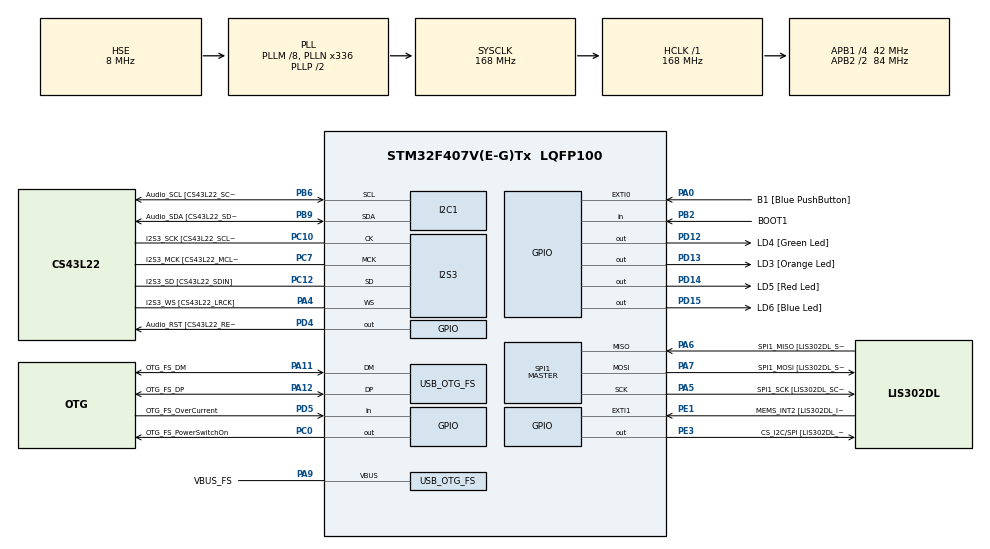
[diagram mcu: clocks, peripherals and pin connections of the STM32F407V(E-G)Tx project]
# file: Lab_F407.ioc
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I2S3.AudioFreq-Half_Duplex_Master=I2S_AUDIOFREQ_96K
I2S3.ErrorAudioFreq=-2.34 %
I2S3.ErrorAudioFreq-Half_Duplex_Master=0.8 %
I2S3.FullDuplexMode=I2S_FULLDUPLEXMODE_DISABLE
I2S3.Instance=SPI$Index
I2S3.RealAudioFreq=93.75 KHz
I2S3.RealAudioFreq-Half_Duplex_Master=96.774 KHz
I2S3.VirtualMode=I2S_MODE_MASTER
Mcu.Family=STM32F4
Mcu.Name=STM32F407V(E-G)Tx
Mcu.Package=LQFP100
NVIC.EXTI0_IRQn=true\:0\:0\:false\:false\:true\:true\:true\:true
NVIC.OTG_FS_IRQn=true\:0\:0\:false\:false\:true\:true\:true\:true
NVIC.PriorityGroup=NVIC_PRIORITYGROUP_0
NVIC.TIM3_IRQn=true\:0\:0\:false\:false\:true\:true\:true\:true
NVIC.TIM4_IRQn=true\:0\:0\:false\:false\:true\:true\:true\:true
NVIC.TIM5_IRQn=true\:0\:0\:false\:false\:true\:true\:true\:true
PA0-WKUP.GPIO_Label=B1 [Blue PushButton]
PA0-WKUP.GPIO_ModeDefaultEXTI=GPIO_MODE_IT_RISING_FALLING
PA0-WKUP.GPIO_PuPd=GPIO_NOPULL
PA0-WKUP.Signal=GPXTI0
PA10.GPIO_Label=OTG_FS_ID
PA10.GPIO_Mode=GPIO_MODE_AF_PP
PA10.GPIO_PuPd=GPIO_NOPULL
PA10.GPIO_Speed=GPIO_SPEED_FREQ_LOW
PA10.Signal=USB_OTG_FS_ID
PA11.GPIO_Label=OTG_FS_DM
PA11.GPIO_Mode=GPIO_MODE_AF_PP
PA11.GPIO_PuPd=GPIO_NOPULL
PA11.GPIO_Speed=GPIO_SPEED_FREQ_LOW
PA11.Mode=Host_Only
PA11.Signal=USB_OTG_FS_DM
PA12.GPIO_Label=OTG_FS_DP
PA12.GPIO_Mode=GPIO_MODE_AF_PP
PA12.GPIO_PuPd=GPIO_NOPULL
PA12.GPIO_Speed=GPIO_SPEED_FREQ_LOW
PA12.Mode=Host_Only
PA12.Signal=USB_OTG_FS_DP
PA13.GPIO_Label=SWDIO
PA13.Mode=Serial_Wire
PA13.Signal=SYS_JTMS-SWDIO
PA14.GPIO_Label=SWCLK
PA14.Mode=Serial_Wire
PA14.Signal=SYS_JTCK-SWCLK
PA4.GPIO_Label=I2S3_WS [CS43L22_LRCK]
PA4.GPIO_Mode=GPIO_MODE_AF_PP
PA4.GPIO_PuPd=GPIO_NOPULL
PA4.GPIO_Speed=GPIO_SPEED_FREQ_LOW
PA4.Mode=Half_Duplex_Master
PA4.Signal=I2S3_WS
PA5.GPIO_Label=SPI1_SCK [LIS302DL_SCL/SPC]
PA5.GPIO_Mode=GPIO_MODE_AF_PP
PA5.GPIO_PuPd=GPIO_NOPULL
PA5.GPIO_Speed=GPIO_SPEED_FREQ_LOW
PA5.Mode=Full_Duplex_Master
PA5.Signal=SPI1_SCK
PA6.GPIO_Label=SPI1_MISO [LIS302DL_SDO]
PA6.GPIO_Mode=GPIO_MODE_AF_PP
PA6.GPIO_PuPd=GPIO_NOPULL
PA6.GPIO_Speed=GPIO_SPEED_FREQ_LOW
PA6.Mode=Full_Duplex_Master
PA6.Signal=SPI1_MISO
PA7.GPIO_Label=SPI1_MOSI [LIS302DL_SDA/SDI/SDO]
PA7.GPIO_Mode=GPIO_MODE_AF_PP
PA7.GPIO_PuPd=GPIO_NOPULL
PA7.GPIO_Speed=GPIO_SPEED_FREQ_LOW
PA7.Mode=Full_Duplex_Master
PA7.Signal=SPI1_MOSI
PA9.GPIO_Label=VBUS_FS
PA9.GPIO_Mode=GPIO_MODE_INPUT
PA9.GPIO_PuPd=GPIO_NOPULL
PA9.Mode=Activate_VBUS
PA9.Signal=USB_OTG_FS_VBUS
PB10.GPIO_Label=CLK_IN [MP45DT02_CLK]
PB10.GPIO_Mode=GPIO_MODE_AF_PP
PB10.GPIO_PuPd=GPIO_NOPULL
PB10.GPIO_Speed=GPIO_SPEED_FREQ_LOW
PB10.Signal=I2S2_CK
PB2.GPIO_Label=BOOT1
PB2.GPIO_Mode=GPIO_MODE_INPUT
PB2.GPIO_PuPd=GPIO_NOPULL
PB2.Signal=GPIO_Input
PB3.GPIO_Label=SWO
PB3.Signal=SYS_JTDO-SWO
PB6.GPIO_Label=Audio_SCL [CS43L22_SCL]
PB6.GPIO_Mode=GPIO_MODE_AF_OD
PB6.GPIO_Pu=GPIO_PULLUP
PB6.GPIO_PuPd=GPIO_NOPULL
PB6.GPIO_Speed=GPIO_SPEED_FREQ_LOW
PB6.Mode=I2C
PB6.Signal=I2C1_SCL
PB9.GPIO_Label=Audio_SDA [CS43L22_SDA]
PB9.GPIO_Mode=GPIO_MODE_AF_OD
PB9.GPIO_Pu=GPIO_PULLUP
PB9.GPIO_PuPd=GPIO_NOPULL
PB9.GPIO_Speed=GPIO_SPEED_FREQ_LOW
PB9.Mode=I2C
PB9.Signal=I2C1_SDA
PC0.GPIO_Label=OTG_FS_PowerSwitchOn
PC0.GPIO_PuPd=GPIO_NOPULL
PC0.GPIO_Speed=GPIO_SPEED_FREQ_LOW
PC0.PinState=GPIO_PIN_SET
PC0.Signal=GPIO_Output
PC10.GPIO_Label=I2S3_SCK [CS43L22_SCLK]
PC10.GPIO_Mode=GPIO_MODE_AF_PP
PC10.GPIO_PuPd=GPIO_NOPULL
PC10.GPIO_Speed=GPIO_SPEED_FREQ_LOW
PC10.Mode=Half_Duplex_Master
PC10.Signal=I2S3_CK
PC12.GPIO_Label=I2S3_SD [CS43L22_SDIN]
PC12.GPIO_Mode=GPIO_MODE_AF_PP
PC12.GPIO_PuPd=GPIO_NOPULL
PC12.GPIO_Speed=GPIO_SPEED_FREQ_LOW
PC12.Mode=Half_Duplex_Master
PC12.Signal=I2S3_SD
PC14-OSC32_IN.GPIO_Label=PC14-OSC32_IN
PC14-OSC32_IN.Mode=LSE-External-Oscillator
PC14-OSC32_IN.Signal=RCC_OSC32_IN
PC15-OSC32_OUT.GPIO_Label=PC15-OSC32_OUT
PC15-OSC32_OUT.Mode=LSE-External-Oscillator
PC15-OSC32_OUT.Signal=RCC_OSC32_OUT
PC3.GPIO_Label=PDM_OUT [MP45DT02_DOUT]
PC3.GPIO_Mode=GPIO_MODE_AF_PP
PC3.GPIO_PuPd=GPIO_NOPULL
PC3.GPIO_Speed=GPIO_SPEED_FREQ_LOW
PC3.Signal=I2S2_SD
PC7.GPIO_Label=I2S3_MCK [CS43L22_MCLK]
PC7.GPIO_Mode=GPIO_MODE_AF_PP
PC7.GPIO_PuPd=GPIO_NOPULL
PC7.GPIO_Speed=GPIO_SPEED_FREQ_LOW
PC7.Mode=Master_Clock_Activated
PC7.Signal=I2S3_MCK
PD12.GPIO_Label=LD4 [Green Led]
PD12.GPIO_PuPd=GPIO_NOPULL
PD12.GPIO_Speed=GPIO_SPEED_FREQ_LOW
PD12.Signal=GPIO_Output
PD13.GPIO_Label=LD3 [Orange Led]
PD13.GPIO_PuPd=GPIO_NOPULL
PD13.GPIO_Speed=GPIO_SPEED_FREQ_LOW
PD13.Signal=GPIO_Output
PD14.GPIO_Label=LD5 [Red Led]
PD14.GPIO_PuPd=GPIO_NOPULL
PD14.GPIO_Speed=GPIO_SPEED_FREQ_LOW
PD14.Signal=GPIO_Output
PD15.GPIO_Label=LD6 [Blue Led]
PD15.GPIO_PuPd=GPIO_NOPULL
PD15.GPIO_Speed=GPIO_SPEED_FREQ_LOW
PD15.Signal=GPIO_Output
PD4.GPIO_Label=Audio_RST [CS43L22_RESET]
PD4.GPIO_PuPd=GPIO_NOPULL
PD4.GPIO_Speed=GPIO_SPEED_FREQ_LOW
PD4.Signal=GPIO_Output
PD5.GPIO_Label=OTG_FS_OverCurrent
PD5.GPIO_Mode=GPIO_MODE_INPUT
PD5.GPIO_PuPd=GPIO_NOPULL
PD5.Signal=GPIO_Input
PE1.GPIO_Label=MEMS_INT2 [LIS302DL_INT2]
PE1.GPIO_ModeDefaultEXTI=GPIO_MODE_EVT_RISING
PE1.GPIO_PuPd=GPIO_NOPULL
PE1.Signal=GPXTI1
PE3.GPIO_Label=CS_I2C/SPI [LIS302DL_CS_I2C/SPI]
PE3.GPIO_PuPd=GPIO_NOPULL
PE3.GPIO_Speed=GPIO_SPEED_FREQ_LOW
PE3.Signal=GPIO_Output
PH0-OSC_IN.GPIO_Label=PH0-OSC_IN
PH0-OSC_IN.Mode=HSE-External-Oscillator
PH0-OSC_IN.Signal=RCC_OSC_IN
PH1-OSC_OUT.GPIO_Label=PH1-OSC_OUT
PH1-OSC_OUT.Mode=HSE-External-Oscillator
PH1-OSC_OUT.Signal=RCC_OSC_OUT
ProjectManager.HeapSize=0x200
ProjectManager.StackSize=0x400
ProjectManager.TargetToolchain=STM32CubeIDE
RCC.48MHZClocksFreq_Value=48000000
RCC.AHBFreq_Value=168000000
RCC.APB1CLKDivider=RCC_HCLK_DIV4
RCC.APB1Freq_Value=42000000
RCC.APB1TimFreq_Value=84000000
RCC.APB2CLKDivider=RCC_HCLK_DIV2
RCC.APB2Freq_Value=84000000
RCC.APB2TimFreq_Value=168000000
RCC.CortexFreq_Value=168000000
RCC.HCLKFreq_Value=168000000
RCC.HSE_VALUE=8000000
RCC.HSI_VALUE=16000000
RCC.PLLM=8
RCC.PLLN=336
RCC.PLLQ=7
RCC.SYSCLKFreq_VALUE=168000000
RCC.SYSCLKSource=RCC_SYSCLKSOURCE_PLLCLK
RCC.VCOOutputFreq_Value=336000000
SPI1.BaudRatePrescaler-Full_Duplex_Master=SPI_BAUDRATEPRESCALER_2
SPI1.CalculateBaudRate-Full_Duplex_Master=42.0 MBits/s
SPI1.Direction=SPI_DIRECTION_2LINES
SPI1.Mode=SPI_MODE_MASTER
SPI1.Mode-Full_Duplex_Master=SPI_MODE_MASTER
SPI1.VirtualType=VM_MASTER
TIM3.Period=999
TIM3.Prescaler=8399
TIM4.Period=999
TIM4.Prescaler=8399
TIM5.Period=999
TIM5.Prescaler=8399
USB_HOST.BSP.number=1
USB_HOST.USBH_HandleTypeDef-CDC_FS=hUsbHostFS
USB_HOST.VirtualModeFS=Cdc
USB_HOST0.BSP.STBoard=false
USB_HOST0.BSP.api=Unknown
USB_HOST0.BSP.instance=PC0
USB_HOST0.BSP.ip=GPIO
USB_HOST0.BSP.mode=Output
USB_HOST0.BSP.name=Drive_VBUS_FS
USB_HOST0.BSP.solution=PC0
USB_OTG_FS.VirtualMode=Host_Only
USB_OTG_FS.phy_itface=HCD_PHY_EMBEDDED
VP_TIM3_VS_ClockSourceINT.Mode=Internal
VP_TIM4_VS_ClockSourceINT.Mode=Internal
VP_TIM5_VS_ClockSourceINT.Mode=Internal
VP_USB_HOST_VS_USB_HOST_CDC_FS.Mode=CDC_FS
board=STM32F407G-DISC1

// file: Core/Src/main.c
/* USER CODE BEGIN Header */
/**
 ******************************************************************************
 * @file           : main.c
 * @brief          : Main program body
 ******************************************************************************
 * @attention
 *
 * Copyright (c) 2023 STMicroelectronics.
 * All rights reserved.
 *
 * This software is licensed under terms that can be found in the LICENSE file
 * in the root directory of this software component.
 * If no LICENSE file comes with this software, it is provided AS-IS.
 *
 ******************************************************************************
 */
/* USER CODE END Header */
#include "main.h"
#include "usb_host.h"

/* USER CODE BEGIN Includes */
#include "Button_Handle.h"
/* USER CODE END Includes */

I2C_HandleTypeDef hi2c1;

I2S_HandleTypeDef hi2s3;

SPI_HandleTypeDef hspi1;

TIM_HandleTypeDef htim3;
TIM_HandleTypeDef htim4;
TIM_HandleTypeDef htim5;

/* USER CODE BEGIN PV */
Button_Handle_t btn;
/* USER CODE END PV */

void SystemClock_Config(void);
static void MX_GPIO_Init(void);
static void MX_I2C1_Init(void);
static void MX_I2S3_Init(void);
static void MX_SPI1_Init(void);
static void MX_TIM3_Init(void);
static void MX_TIM4_Init(void);
static void MX_TIM5_Init(void);
void MX_USB_HOST_Process(void);

int main(void)
{

  /* MCU Configuration--------------------------------------------------------*/

  /* Reset of all peripherals, Initializes the Flash interface and the Systick. */
  HAL_Init();

  /* Configure the system clock */
  SystemClock_Config();

  /* Initialize all configured peripherals */
  MX_GPIO_Init();
  MX_I2C1_Init();
  MX_I2S3_Init();
  MX_SPI1_Init();
  MX_USB_HOST_Init();
  MX_TIM3_Init();
  MX_TIM4_Init();
  MX_TIM5_Init();
  /* USER CODE BEGIN 2 */
	Button_Init(&btn, B1_Pin, &htim4);
	uint8_t state = HAL_GPIO_ReadPin(B1_GPIO_Port, B1_Pin);
  /* USER CODE END 2 */

  /* Infinite loop */
	while (1) {
    MX_USB_HOST_Process();

	}
}

void SystemClock_Config(void)
{
  RCC_OscInitTypeDef RCC_OscInitStruct = {0};
  RCC_ClkInitTypeDef RCC_ClkInitStruct = {0};

  /** Configure the main internal regulator output voltage
  */
  __HAL_RCC_PWR_CLK_ENABLE();
  __HAL_PWR_VOLTAGESCALING_CONFIG(PWR_REGULATOR_VOLTAGE_SCALE1);

  /** Initializes the RCC Oscillators according to the specified parameters
  * in the RCC_OscInitTypeDef structure.
  */
  RCC_OscInitStruct.OscillatorType = RCC_OSCILLATORTYPE_HSE;
  RCC_OscInitStruct.HSEState = RCC_HSE_ON;
  RCC_OscInitStruct.PLL.PLLState = RCC_PLL_ON;
  RCC_OscInitStruct.PLL.PLLSource = RCC_PLLSOURCE_HSE;
  RCC_OscInitStruct.PLL.PLLM = 8;
  RCC_OscInitStruct.PLL.PLLN = 336;
  RCC_OscInitStruct.PLL.PLLP = RCC_PLLP_DIV2;
  RCC_OscInitStruct.PLL.PLLQ = 7;
  if (HAL_RCC_OscConfig(&RCC_OscInitStruct) != HAL_OK)
  {
    Error_Handler();
  }

  /** Initializes the CPU, AHB and APB buses clocks
  */
  RCC_ClkInitStruct.ClockType = RCC_CLOCKTYPE_HCLK|RCC_CLOCKTYPE_SYSCLK
                              |RCC_CLOCKTYPE_PCLK1|RCC_CLOCKTYPE_PCLK2;
  RCC_ClkInitStruct.SYSCLKSource = RCC_SYSCLKSOURCE_PLLCLK;
  RCC_ClkInitStruct.AHBCLKDivider = RCC_SYSCLK_DIV1;
  RCC_ClkInitStruct.APB1CLKDivider = RCC_HCLK_DIV4;
  RCC_ClkInitStruct.APB2CLKDivider = RCC_HCLK_DIV2;

  if (HAL_RCC_ClockConfig(&RCC_ClkInitStruct, FLASH_LATENCY_5) != HAL_OK)
  {
    Error_Handler();
  }
}

static void MX_I2C1_Init(void)
{

  hi2c1.Instance = I2C1;
  hi2c1.Init.ClockSpeed = 100000;
  hi2c1.Init.DutyCycle = I2C_DUTYCYCLE_2;
  hi2c1.Init.OwnAddress1 = 0;
  hi2c1.Init.AddressingMode = I2C_ADDRESSINGMODE_7BIT;
  hi2c1.Init.DualAddressMode = I2C_DUALADDRESS_DISABLE;
  hi2c1.Init.OwnAddress2 = 0;
  hi2c1.Init.GeneralCallMode = I2C_GENERALCALL_DISABLE;
  hi2c1.Init.NoStretchMode = I2C_NOSTRETCH_DISABLE;
  if (HAL_I2C_Init(&hi2c1) != HAL_OK)
  {
    Error_Handler();
  }

}

static void MX_I2S3_Init(void)
{

  hi2s3.Instance = SPI3;
  hi2s3.Init.Mode = I2S_MODE_MASTER_TX;
  hi2s3.Init.Standard = I2S_STANDARD_PHILIPS;
  hi2s3.Init.DataFormat = I2S_DATAFORMAT_16B;
  hi2s3.Init.MCLKOutput = I2S_MCLKOUTPUT_ENABLE;
  hi2s3.Init.AudioFreq = I2S_AUDIOFREQ_96K;
  hi2s3.Init.CPOL = I2S_CPOL_LOW;
  hi2s3.Init.ClockSource = I2S_CLOCK_PLL;
  hi2s3.Init.FullDuplexMode = I2S_FULLDUPLEXMODE_DISABLE;
  if (HAL_I2S_Init(&hi2s3) != HAL_OK)
  {
    Error_Handler();
  }

}

static void MX_SPI1_Init(void)
{

  /* SPI1 parameter configuration*/
  hspi1.Instance = SPI1;
  hspi1.Init.Mode = SPI_MODE_MASTER;
  hspi1.Init.Direction = SPI_DIRECTION_2LINES;
  hspi1.Init.DataSize = SPI_DATASIZE_8BIT;
  hspi1.Init.CLKPolarity = SPI_POLARITY_LOW;
  hspi1.Init.CLKPhase = SPI_PHASE_1EDGE;
  hspi1.Init.NSS = SPI_NSS_SOFT;
  hspi1.Init.BaudRatePrescaler = SPI_BAUDRATEPRESCALER_2;
  hspi1.Init.FirstBit = SPI_FIRSTBIT_MSB;
  hspi1.Init.TIMode = SPI_TIMODE_DISABLE;
  hspi1.Init.CRCCalculation = SPI_CRCCALCULATION_DISABLE;
  hspi1.Init.CRCPolynomial = 10;
  if (HAL_SPI_Init(&hspi1) != HAL_OK)
  {
    Error_Handler();
  }

}

static void MX_TIM3_Init(void)
{

  TIM_ClockConfigTypeDef sClockSourceConfig = {0};
  TIM_MasterConfigTypeDef sMasterConfig = {0};

  htim3.Instance = TIM3;
  htim3.Init.Prescaler = 8399;
  htim3.Init.CounterMode = TIM_COUNTERMODE_UP;
  htim3.Init.Period = 999;
  htim3.Init.ClockDivision = TIM_CLOCKDIVISION_DIV1;
  htim3.Init.AutoReloadPreload = TIM_AUTORELOAD_PRELOAD_DISABLE;
  if (HAL_TIM_Base_Init(&htim3) != HAL_OK)
  {
    Error_Handler();
  }
  sClockSourceConfig.ClockSource = TIM_CLOCKSOURCE_INTERNAL;
  if (HAL_TIM_ConfigClockSource(&htim3, &sClockSourceConfig) != HAL_OK)
  {
    Error_Handler();
  }
  sMasterConfig.MasterOutputTrigger = TIM_TRGO_RESET;
  sMasterConfig.MasterSlaveMode = TIM_MASTERSLAVEMODE_DISABLE;
  if (HAL_TIMEx_MasterConfigSynchronization(&htim3, &sMasterConfig) != HAL_OK)
  {
    Error_Handler();
  }

}

static void MX_TIM4_Init(void)
{

  TIM_ClockConfigTypeDef sClockSourceConfig = {0};
  TIM_MasterConfigTypeDef sMasterConfig = {0};

  htim4.Instance = TIM4;
  htim4.Init.Prescaler = 8399;
  htim4.Init.CounterMode = TIM_COUNTERMODE_UP;
  htim4.Init.Period = 999;
  htim4.Init.ClockDivision = TIM_CLOCKDIVISION_DIV1;
  htim4.Init.AutoReloadPreload = TIM_AUTORELOAD_PRELOAD_DISABLE;
  if (HAL_TIM_Base_Init(&htim4) != HAL_OK)
  {
    Error_Handler();
  }
  sClockSourceConfig.ClockSource = TIM_CLOCKSOURCE_INTERNAL;
  if (HAL_TIM_ConfigClockSource(&htim4, &sClockSourceConfig) != HAL_OK)
  {
    Error_Handler();
  }
  sMasterConfig.MasterOutputTrigger = TIM_TRGO_RESET;
  sMasterConfig.MasterSlaveMode = TIM_MASTERSLAVEMODE_DISABLE;
  if (HAL_TIMEx_MasterConfigSynchronization(&htim4, &sMasterConfig) != HAL_OK)
  {
    Error_Handler();
  }

}

static void MX_TIM5_Init(void)
{

  TIM_ClockConfigTypeDef sClockSourceConfig = {0};
  TIM_MasterConfigTypeDef sMasterConfig = {0};

  htim5.Instance = TIM5;
  htim5.Init.Prescaler = 8399;
  htim5.Init.CounterMode = TIM_COUNTERMODE_UP;
  htim5.Init.Period = 999;
  htim5.Init.ClockDivision = TIM_CLOCKDIVISION_DIV1;
  htim5.Init.AutoReloadPreload = TIM_AUTORELOAD_PRELOAD_DISABLE;
  if (HAL_TIM_Base_Init(&htim5) != HAL_OK)
  {
    Error_Handler();
  }
  sClockSourceConfig.ClockSource = TIM_CLOCKSOURCE_INTERNAL;
  if (HAL_TIM_ConfigClockSource(&htim5, &sClockSourceConfig) != HAL_OK)
  {
    Error_Handler();
  }
  sMasterConfig.MasterOutputTrigger = TIM_TRGO_RESET;
  sMasterConfig.MasterSlaveMode = TIM_MASTERSLAVEMODE_DISABLE;
  if (HAL_TIMEx_MasterConfigSynchronization(&htim5, &sMasterConfig) != HAL_OK)
  {
    Error_Handler();
  }

}

static void MX_GPIO_Init(void)
{
  GPIO_InitTypeDef GPIO_InitStruct = {0};

  /* GPIO Ports Clock Enable */
  __HAL_RCC_GPIOE_CLK_ENABLE();
  __HAL_RCC_GPIOC_CLK_ENABLE();
  __HAL_RCC_GPIOH_CLK_ENABLE();
  __HAL_RCC_GPIOA_CLK_ENABLE();
  __HAL_RCC_GPIOB_CLK_ENABLE();
  __HAL_RCC_GPIOD_CLK_ENABLE();

  /*Configure GPIO pin Output Level */
  HAL_GPIO_WritePin(CS_I2C_SPI_GPIO_Port, CS_I2C_SPI_Pin, GPIO_PIN_RESET);

  /*Configure GPIO pin Output Level */
  HAL_GPIO_WritePin(OTG_FS_PowerSwitchOn_GPIO_Port, OTG_FS_PowerSwitchOn_Pin, GPIO_PIN_SET);

  /*Configure GPIO pin Output Level */
  HAL_GPIO_WritePin(GPIOD, LD4_Pin|LD3_Pin|LD5_Pin|LD6_Pin
                          |Audio_RST_Pin, GPIO_PIN_RESET);

  /*Configure GPIO pin : CS_I2C_SPI_Pin */
  GPIO_InitStruct.Pin = CS_I2C_SPI_Pin;
  GPIO_InitStruct.Mode = GPIO_MODE_OUTPUT_PP;
  GPIO_InitStruct.Pull = GPIO_NOPULL;
  GPIO_InitStruct.Speed = GPIO_SPEED_FREQ_LOW;
  HAL_GPIO_Init(CS_I2C_SPI_GPIO_Port, &GPIO_InitStruct);

  /*Configure GPIO pin : OTG_FS_PowerSwitchOn_Pin */
  GPIO_InitStruct.Pin = OTG_FS_PowerSwitchOn_Pin;
  GPIO_InitStruct.Mode = GPIO_MODE_OUTPUT_PP;
  GPIO_InitStruct.Pull = GPIO_NOPULL;
  GPIO_InitStruct.Speed = GPIO_SPEED_FREQ_LOW;
  HAL_GPIO_Init(OTG_FS_PowerSwitchOn_GPIO_Port, &GPIO_InitStruct);

  /*Configure GPIO pin : PDM_OUT_Pin */
  GPIO_InitStruct.Pin = PDM_OUT_Pin;
  GPIO_InitStruct.Mode = GPIO_MODE_AF_PP;
  GPIO_InitStruct.Pull = GPIO_NOPULL;
  GPIO_InitStruct.Speed = GPIO_SPEED_FREQ_LOW;
  GPIO_InitStruct.Alternate = GPIO_AF5_SPI2;
  HAL_GPIO_Init(PDM_OUT_GPIO_Port, &GPIO_InitStruct);

  /*Configure GPIO pin : B1_Pin */
  GPIO_InitStruct.Pin = B1_Pin;
  GPIO_InitStruct.Mode = GPIO_MODE_IT_RISING_FALLING;
  GPIO_InitStruct.Pull = GPIO_NOPULL;
  HAL_GPIO_Init(B1_GPIO_Port, &GPIO_InitStruct);

  /*Configure GPIO pin : BOOT1_Pin */
  GPIO_InitStruct.Pin = BOOT1_Pin;
  GPIO_InitStruct.Mode = GPIO_MODE_INPUT;
  GPIO_InitStruct.Pull = GPIO_NOPULL;
  HAL_GPIO_Init(BOOT1_GPIO_Port, &GPIO_InitStruct);

  /*Configure GPIO pin : CLK_IN_Pin */
  GPIO_InitStruct.Pin = CLK_IN_Pin;
  GPIO_InitStruct.Mode = GPIO_MODE_AF_PP;
  GPIO_InitStruct.Pull = GPIO_NOPULL;
  GPIO_InitStruct.Speed = GPIO_SPEED_FREQ_LOW;
  GPIO_InitStruct.Alternate = GPIO_AF5_SPI2;
  HAL_GPIO_Init(CLK_IN_GPIO_Port, &GPIO_InitStruct);

  /*Configure GPIO pins : LD4_Pin LD3_Pin LD5_Pin LD6_Pin
                           Audio_RST_Pin */
  GPIO_InitStruct.Pin = LD4_Pin|LD3_Pin|LD5_Pin|LD6_Pin
                          |Audio_RST_Pin;
  GPIO_InitStruct.Mode = GPIO_MODE_OUTPUT_PP;
  GPIO_InitStruct.Pull = GPIO_NOPULL;
  GPIO_InitStruct.Speed = GPIO_SPEED_FREQ_LOW;
  HAL_GPIO_Init(GPIOD, &GPIO_InitStruct);

  /*Configure GPIO pin : OTG_FS_OverCurrent_Pin */
  GPIO_InitStruct.Pin = OTG_FS_OverCurrent_Pin;
  GPIO_InitStruct.Mode = GPIO_MODE_INPUT;
  GPIO_InitStruct.Pull = GPIO_NOPULL;
  HAL_GPIO_Init(OTG_FS_OverCurrent_GPIO_Port, &GPIO_InitStruct);

  /*Configure GPIO pin : MEMS_INT2_Pin */
  GPIO_InitStruct.Pin = MEMS_INT2_Pin;
  GPIO_InitStruct.Mode = GPIO_MODE_EVT_RISING;
  GPIO_InitStruct.Pull = GPIO_NOPULL;
  HAL_GPIO_Init(MEMS_INT2_GPIO_Port, &GPIO_InitStruct);

  /* EXTI interrupt init*/
  HAL_NVIC_SetPriority(EXTI0_IRQn, 0, 0);
  HAL_NVIC_EnableIRQ(EXTI0_IRQn);

}

/* USER CODE BEGIN 4 */

void HAL_GPIO_EXTI_Callback(uint16_t GPIO_Pin) {
	/* Prevent unused argument(s) compilation warning */
	UNUSED(GPIO_Pin);
	/* NOTE: This function Should not be modified, when the callback is needed,
	 the HAL_GPIO_EXTI_Callback could be implemented in the user file
	 */

	if (GPIO_Pin == btn.pin) {
			btn.state = HAL_GPIO_ReadPin(GPIOA, btn.pin);
			if (btn.state == PRESSED) {
				HAL_GPIO_TogglePin(LD3_GPIO_Port, LD3_Pin);
//				HAL_GPIO_WritePin(LD3_GPIO_Port, LD3_Pin, GPIO_PIN_SET);
//				HAL_GPIO_TogglePin(LED_GPIO_Port, LED_Pin);
	//			uint8_t UARTBuffer[30] = { 0 };
	//			sprintf(UARTBuffer, "\nbtn Pressed\n");
	//			HAL_UART_Transmit(&huart1, UARTBuffer, 30, 1000);
				Button_StartPressedCounter(&btn);
			} else if (btn.state == RELEASED) {
//				HAL_GPIO_WritePin(LD3_GPIO_Port, LD3_Pin, GPIO_PIN_RESET);
				if (btn.lastState == PRESSED) {
					// inc/dec counter
//					LedMode++;
//					if (LedMode >= 3)
//						LedMode = 0;
				} else if (btn.lastState == LONGPRESSED) {
					Button_StopTimerCounter(&btn);
				}
			}
			btn.lastState = btn.state;
		}
}

void HAL_TIM_PeriodElapsedCallback(TIM_HandleTypeDef *htim) {
	if (htim->Instance == btn.htim->Instance) {
		if (btn.lastState == PRESSED) {
			Button_StopTimerCounter(&btn);
//			HAL_GPIO_TogglePin(LD3_GPIO_Port, LD3_Pin);
			btn.state = LONGPRESSED;
			btn.lastState = btn.state;
			Button_StartTimer(&btn);
		} else if (btn.lastState == LONGPRESSED) {
			HAL_GPIO_TogglePin(LD4_GPIO_Port, LD4_Pin);
		}
	}
}
/* USER CODE END 4 */

void Error_Handler(void)
{
	__disable_irq();
	while (1) {
	}
}
